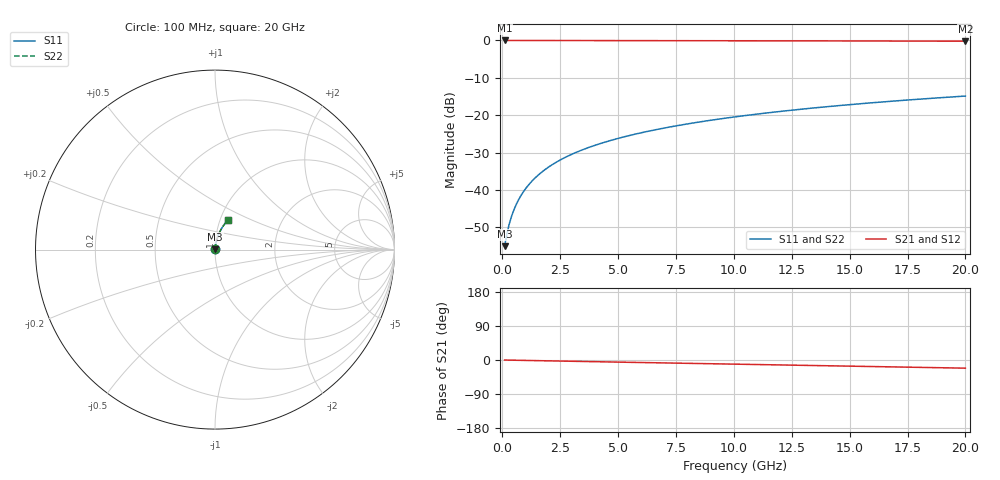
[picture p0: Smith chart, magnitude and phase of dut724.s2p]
! Touchstone file exported from HFSS 2026.1.0
!  File:  C:/ffzhzh/LocalFiles/Ansys_Project_Files/temp_train_BSMRDL_724_1783168401_55132.aedt
!  Generated:  08:34:37 PM Jul  4, 2026
!  Design:  BSMRDL
!  Project:  temp_train_BSMRDL_724_1783168401_55132
! Variables:
!  h_bsmrdl = 5.81um
!  h_ox = 20um
!  h_rdl = 5um
!  h_sub = 80um
!  h_tmrdl = 5um
!  h_tsv = 80um
!  h_via = 3um
!  l_bsmrdl = 322.84um
!  l_sub = 722.84um
!  l_tmrdl = 200um
!  m_sub = 200um
!  pitch = 33.21um
!  r_tsv = 6um
!  s_tmrdl = 10um
!  w_bsmrdl = 15.64um
!  w_sub = 500um
!  w_tmrdl = 12um
!  x_tsv_center1 = 206um
!  x_tsv_center2 = 544.48um
!  x_tsv_center3 = 756.48um
!  x_tsv_center4 = 1094.96um
!  x_tsv_center5 = 1306.96um
!  x_tsv_center6 = 1645.44um
# GHz S MA R 50.000000
! Terminal data exported
! Port[1] = BSM_RDL1_1_T1
! Port[2] = BSM_RDL1_1_T2
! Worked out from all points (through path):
!   200 points, 100 MHz to 20 GHz, reference 50 ohm
!   highest |S21| = -0.01 dB at 100 MHz (marker M1); lowest = -0.2 dB at 20 GHz (marker M2)
!   group delay of S21, straight-line fit = 2.98 ps
!   lowest |S11| = -55.1 dB at 100 MHz (marker M3), VSWR 1.00, Z = 50.1 + j0.111 ohm
!   |S11| at or under -10 dB: start of sweep to end of sweep
!   |S22| runs from -55.1 to -14.9 dB; largest |S21 - S12| = 4.5e-15
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0.1  0.001766 38.8  0.9986 -0.1  0.9986 -0.1  0.001766 38.8
! Gamma 0 0 0 0
! Port Impedance 50 0 50 0
0.2  0.002592 55.8  0.9986 -0.2  0.9986 -0.2  0.002592 55.8
0.3  0.003497 64.2  0.9985 -0.3  0.9985 -0.3  0.003497 64.2
0.4  0.004434 69.2  0.9984 -0.5  0.9984 -0.5  0.004434 69.2
0.5  0.005392 72.5  0.9984 -0.6  0.9984 -0.6  0.005392 72.5
0.6  0.006364 74.8  0.9983 -0.7  0.9983 -0.7  0.006364 74.8
0.8  0.008331 77.7  0.9983 -0.9  0.9983 -0.9  0.008331 77.7
1.1  0.01131 79.9  0.9981 -1.2  0.9981 -1.2  0.01131 79.9
1.3  0.0133 80.7  0.9981 -1.5  0.9981 -1.5  0.0133 80.7
1.5  0.01528 81.2  0.998 -1.7  0.998 -1.7  0.01528 81.2
1.8  0.01825 81.6  0.9978 -2.0  0.9978 -2.0  0.01825 81.6
2.1  0.0212 81.8  0.9976 -2.4  0.9976 -2.4  0.0212 81.8
2.7  0.02705 81.8  0.9972 -3.0  0.9972 -3.0  0.02705 81.8
3.5  0.03474 81.3  0.9965 -3.9  0.9965 -3.9  0.03474 81.3
4.2  0.04137 80.8  0.9959 -4.7  0.9959 -4.7  0.04137 80.8
5  0.04886 80.2  0.9952 -5.6  0.9952 -5.6  0.04886 80.2
6.8  0.06546 78.7  0.9935 -7.5  0.9935 -7.5  0.06546 78.7
8.3  0.0791 77.4  0.992 -9.1  0.992 -9.1  0.0791 77.4
10.1  0.09528 75.7  0.9901 -11.1  0.9901 -11.1  0.09528 75.7
13.4  0.1244 72.6  0.9861 -14.6  0.9861 -14.6  0.1244 72.6
16.7  0.1527 69.4  0.9814 -18.1  0.9814 -18.1  0.1527 69.4
20  0.18 66.1  0.9762 -21.5  0.9762 -21.5  0.1801 66.1
